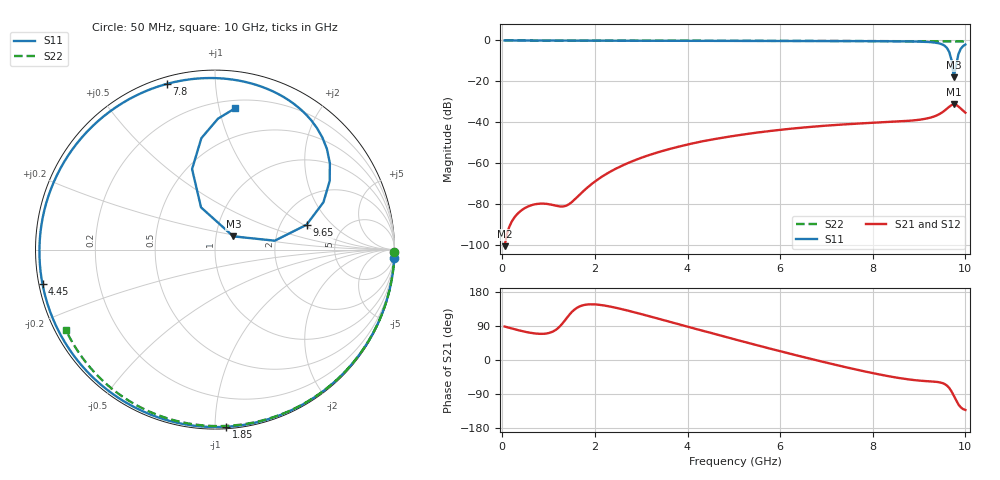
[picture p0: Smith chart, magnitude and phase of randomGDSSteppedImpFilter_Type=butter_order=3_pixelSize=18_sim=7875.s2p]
! freq	dB(S11)	phase(S11)	dB(S12)	phase(S12)
!  dB(S21)	phase(S21)	dB(S22)	phase(S22)
!S-par simulation data
#  GHz  S  DB  R 50
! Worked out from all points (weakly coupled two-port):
!   200 points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, 50 MHz to 10 GHz, reference 50 ohm
!   highest |S21| = -31.21 dB at 9.75 GHz (marker M1); lowest = -100.5 dB at 50 MHz (marker M2)
!   lowest |S11| = -18.0 dB at 9.75 GHz (marker M3), VSWR 1.29, Z = 60.6 + j9.07 ohm
!   |S11| at or under -10 dB: 9.703 GHz to 9.819 GHz (116.1 MHz wide, 1.19 % of centre)
!   |S22| runs from -0.5 to 0.0 dB; largest |S21 - S12| = 0
!   S11 on the Smith chart (normalised r, x): 50 MHz: 0, -44; 1.85 GHz: 0.01, -1.06; 4.45 GHz: 0.01, -0.10; 7.8 GHz: 0.03, +0.75; 9.65 GHz: 2.78, +1.07; 10 GHz: 0.26, +1.12
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0.05  -0.00 -2.6  -100.50 88.4  -100.50 88.4  -0.00 -0.9
0.8  -0.05 -40.0  -79.75 69.1  -79.75 69.1  -0.02 -13.9
1.45  -0.08 -69.8  -79.85 119.7  -79.85 119.7  -0.03 -25.1
1.75  -0.09 -82.4  -73.63 144.7  -73.63 144.7  -0.04 -30.2
1.85  -0.10 -86.4  -71.62 146.6  -71.62 146.6  -0.04 -31.9
2.5  -0.12 -110.6  -62.11 136.5  -62.11 136.5  -0.05 -42.7
3.4  -0.14 -139.5  -54.38 108.0  -54.38 108.0  -0.08 -57.3
4.45  -0.17 -168.7  -48.73 73.3  -48.73 73.3  -0.11 -73.7
5.05  -0.20 176.0  -46.45 53.5  -46.45 53.5  -0.13 -82.7
6.7  -0.28 135.0  -42.14 1.8  -42.14 1.8  -0.21 -106.4
7.8  -0.34 106.2  -40.46 -29.5  -40.46 -29.5  -0.28 -121.6
8.35  -0.39 90.4  -39.84 -43.0  -39.84 -43.0  -0.33 -129.0
8.9  -0.52 72.0  -39.01 -53.1  -39.01 -53.1  -0.38 -136.5
9.25  -0.83 56.3  -37.67 -56.6  -37.67 -56.6  -0.42 -141.2
9.5  -1.93 37.0  -35.13 -60.7  -35.13 -60.7  -0.45 -144.6
9.65  -5.54 15.2  -32.42 -73.6  -32.42 -73.6  -0.46 -146.7
9.7  -9.45 8.5  -31.60 -82.8  -31.60 -82.8  -0.47 -147.3
9.75  -18.00 35.8  -31.21 -94.5  -31.21 -94.5  -0.47 -148.0
9.8  -12.12 108.3  -31.46 -106.9  -31.46 -106.9  -0.48 -148.7
9.85  -6.63 105.9  -32.25 -117.4  -32.25 -117.4  -0.48 -149.4
9.9  -4.07 97.0  -33.28 -124.9  -33.28 -124.9  -0.49 -150.1
10  -1.98 81.8  -35.30 -131.9  -35.30 -131.9  -0.50 -151.5
